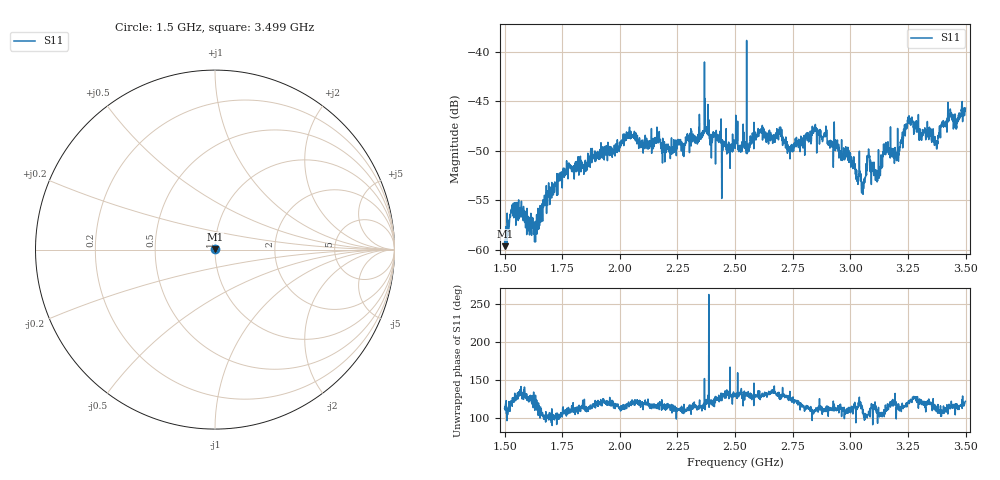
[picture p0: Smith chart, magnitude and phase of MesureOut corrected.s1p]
!Created with skrf (http://scikit-rf.org).
# MHz S RI R 50.0
!freq ReS11 ImS11
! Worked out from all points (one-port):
!   2000 points, 1.5 GHz to 3.499 GHz, reference 50 ohm
!   lowest |S11| = -59.6 dB at 1.503 GHz (marker M1), VSWR 1.00, Z = 50 + j0.0979 ohm
!   |S11| at or under -10 dB: start of sweep to end of sweep
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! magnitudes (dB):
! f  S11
! 1.5 GHz  -59.1
! 1.503 GHz  -59.6
! 1.551 GHz  -55.3
! 1.633 GHz  -58.0
! 1.685 GHz  -54.3
! 1.75 GHz  -53.8
! 2 GHz  -49.5
! 2.041 GHz  -47.9
! 2.25 GHz  -49.2
! 2.332 GHz  -49.0
! 2.376 GHz  -47.7
! 2.397 GHz  -50.7
! 2.5 GHz  -49.8
! 2.561 GHz  -49.8
! 2.615 GHz  -48.2
! 2.75 GHz  -49.5
! 2.843 GHz  -47.8
! 3 GHz  -50.3
! 3.057 GHz  -53.9
! 3.08 GHz  -50.3
! 3.118 GHz  -53.1
! 3.153 GHz  -50.4
! 3.201 GHz  -50.9
! 3.25 GHz  -46.8
! 3.372 GHz  -49.0
! 3.43 GHz  -46.4
! 3.457 GHz  -47.2
! 3.499 GHz  -45.7
